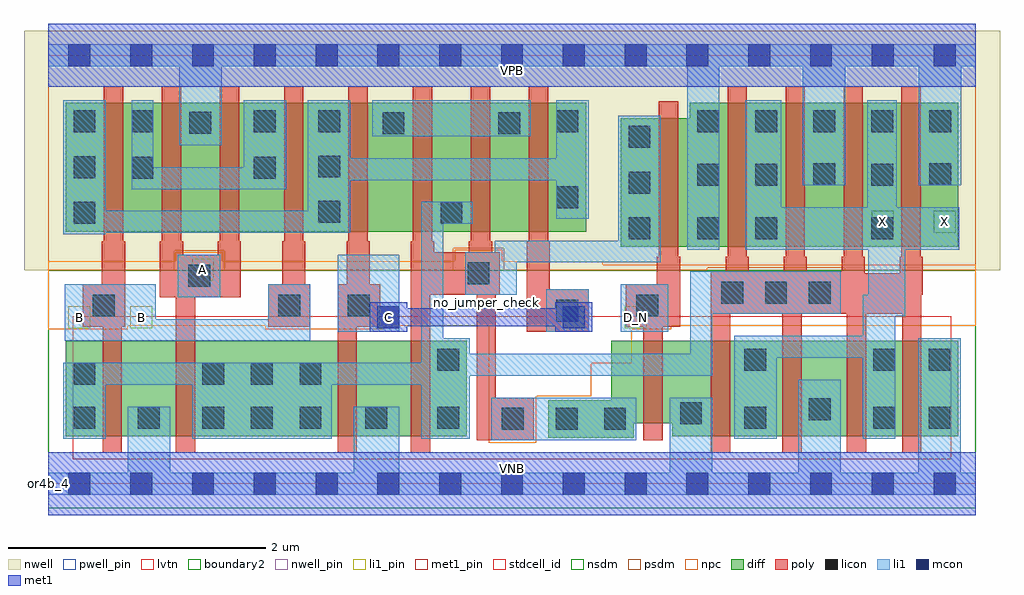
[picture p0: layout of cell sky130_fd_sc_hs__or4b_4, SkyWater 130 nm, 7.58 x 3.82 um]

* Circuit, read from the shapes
.subckt sky130_fd_sc_hs__or4b_4 A B C D_N VGND VNB VPB VPWR X
XM1 VGND B n1 VNB sky130_fd_pr__nfet_01v8_lvt w=0.74 l=0.15
XM2 n1 A VGND VNB sky130_fd_pr__nfet_01v8_lvt w=0.74 l=0.15
XM3 VGND C n1 VNB sky130_fd_pr__nfet_01v8_lvt w=0.74 l=0.15
XM4 n1 n2 VGND VNB sky130_fd_pr__nfet_01v8_lvt w=0.74 l=0.15
XM5 VGND D_N n2 VNB sky130_fd_pr__nfet_01v8_lvt w=0.64 l=0.15
XM6 X n1 VGND VNB sky130_fd_pr__nfet_01v8_lvt w=0.74 l=0.15 m=4
XM7 n3 B n4 VPB sky130_fd_pr__pfet_01v8 w=1 l=0.15 m=2
XM8 VPWR A n3 VPB sky130_fd_pr__pfet_01v8 w=1 l=0.15 m=2
XM9 n5 C n4 VPB sky130_fd_pr__pfet_01v8 w=1 l=0.15 m=2
XM10 n1 n2 n5 VPB sky130_fd_pr__pfet_01v8 w=1 l=0.15 m=2
XM11 VPWR D_N n2 VPB sky130_fd_pr__pfet_01v8 w=1 l=0.15
XM12 X n1 VPWR VPB sky130_fd_pr__pfet_01v8 w=1.12 l=0.15 m=4
.ends

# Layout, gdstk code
import gdstk
lib = gdstk.Library(unit=1e-6, precision=1e-09)
def R(c, l, rs):  # rectangles x0, y0, x1, y1
    for r in rs: c.add(gdstk.rectangle(r[:2], r[2:], *l))
def A(c, l, x, y, w, h, nx, ny, dx, dy):  # array of equal rectangles
    R(c, l, [(x+i*dx, y+j*dy, x+i*dx+w, y+j*dy+h) for i in range(nx) for j in range(ny)])
def P(c, l, *ps):  # polygons
    for p in ps: c.add(gdstk.Polygon(p, *l))
nwell_pin = (64, 16)
nwell = (64, 20)
diff = (65, 20)
poly = (66, 20)
licon = (66, 44)
li1_pin = (67, 16)
li1 = (67, 20)
mcon = (67, 44)
met1_pin = (68, 16)
met1 = (68, 20)
stdcell_id = (81, 4)
nsdm = (93, 44)
psdm = (94, 20)
npc = (95, 20)
pwell_pin = (122, 16)
lvtn = (125, 44)
boundary2 = (236, 0)

sky130_fd_sc_hs__or4b_4 = lib.new_cell('sky130_fd_sc_hs__or4b_4')
R(sky130_fd_sc_hs__or4b_4, nwell_pin, [(0,3.085,7.2,3.33)])
R(sky130_fd_sc_hs__or4b_4, nwell, [(-0.19,1.66,7.39,3.52)])
R(sky130_fd_sc_hs__or4b_4, diff, [(0.135,0.37,3.25,1.11), (0.135,1.96,4.175,2.96)])
P(sky130_fd_sc_hs__or4b_4, diff, [(7.065,2.96),(4.98,2.96),(4.98,2.84),(4.445,2.84),(4.445,1.84),(7.065,1.84)],
  [(7.065,1.11),(4.37,1.11),(4.37,0.65),(3.88,0.65),(3.88,0.36),(4.545,0.36),(4.545,0.47),(4.845,0.47),(4.845,0.37),(7.065,0.37)])
P(sky130_fd_sc_hs__or4b_4, poly, [(6.79,1.765),(6.775,1.765),(6.775,3.09),(6.625,3.09),(6.625,1.765),(6.61,1.765),(6.61,1.635),(6.34,1.635),(6.34,1.765),(6.325,1.765),(6.325,3.09),(6.175,3.09),(6.175,1.765),(6.16,1.765),(6.16,1.65),(5.89,1.65),(5.89,1.765),(5.875,1.765),(5.875,3.09),(5.725,3.09),(5.725,1.765),(5.71,1.765),(5.71,1.65),(5.44,1.65),(5.44,1.765),(5.425,1.765),(5.425,3.09),(5.275,3.09),(5.275,1.765),(5.26,1.765),(5.26,1.65),(5.145,1.65),(5.145,0.24),(5.295,0.24),(5.295,1.32),(5.7,1.32),(5.7,0.24),(5.85,0.24),(5.85,1.32),(6.2,1.32),(6.2,0.24),(6.35,0.24),(6.35,1.32),(6.63,1.32),(6.63,0.24),(6.78,0.24),(6.78,1.47),(6.79,1.47)],
  [(4.905,1.765),(4.89,1.765),(4.89,2.97),(4.74,2.97),(4.74,1.765),(4.725,1.765),(4.725,1.55),(4.485,1.55),(4.485,1.22),(4.62,1.22),(4.62,0.34),(4.77,0.34),(4.77,1.22),(4.905,1.22)],
  [(4.195,1.51),(3.895,1.51),(3.895,1.885),(3.88,1.885),(3.88,3.09),(3.73,3.09),(3.73,1.885),(3.715,1.885),(3.715,1.18),(4.195,1.18)],
  [(3.77,0.67),(3.475,0.67),(3.475,1.47),(3.505,1.47),(3.505,1.8),(3.445,1.8),(3.445,1.885),(3.43,1.885),(3.43,3.09),(3.28,3.09),(3.28,1.885),(3.265,1.885),(3.265,1.8),(2.995,1.8),(2.995,1.885),(2.98,1.885),(2.98,3.09),(2.83,3.09),(2.83,1.885),(2.815,1.885),(2.815,0.24),(2.965,0.24),(2.965,1.47),(3.325,1.47),(3.325,0.34),(3.77,0.34)],
  [(2.575,1.55),(2.495,1.55),(2.495,1.885),(2.48,1.885),(2.48,3.09),(2.33,3.09),(2.33,1.885),(2.315,1.885),(2.315,1.55),(2.245,1.55),(2.245,0.24),(2.395,0.24),(2.395,1.22),(2.575,1.22)],
  [(2.035,1.55),(1.995,1.55),(1.995,1.885),(1.98,1.885),(1.98,3.09),(1.83,3.09),(1.83,1.885),(1.815,1.885),(1.815,1.55),(1.705,1.55),(1.705,1.22),(2.035,1.22)],
  [(1.495,1.885),(1.48,1.885),(1.48,3.09),(1.33,3.09),(1.33,1.885),(1.315,1.885),(1.315,1.78),(1.045,1.78),(1.045,1.885),(1.03,1.885),(1.03,3.09),(0.88,3.09),(0.88,1.885),(0.865,1.885),(0.865,1.45),(0.99,1.45),(0.99,0.24),(1.14,0.24),(1.14,1.45),(1.495,1.45)],
  [(0.595,1.885),(0.58,1.885),(0.58,3.09),(0.43,3.09),(0.43,1.885),(0.415,1.885),(0.415,1.55),(0.265,1.55),(0.265,1.22),(0.42,1.22),(0.42,0.24),(0.57,0.24),(0.57,1.22),(0.595,1.22)])
A(sky130_fd_sc_hs__or4b_4, licon, 0.195, 0.43, 0.17, 0.17, 3, 1, 0.5, 0)
A(sky130_fd_sc_hs__or4b_4, licon, 5.225, 1.4, 0.17, 0.17, 3, 1, 0.34, 0)
A(sky130_fd_sc_hs__or4b_4, licon, 4.505, 1.9, 0.17, 0.17, 1, 3, 0, 0.355)
A(sky130_fd_sc_hs__or4b_4, licon, 0.195, 2.02, 0.17, 0.17, 1, 3, 0, 0.355)
A(sky130_fd_sc_hs__or4b_4, licon, 2.095, 2.03, 0.17, 0.17, 1, 3, 0, 0.35)
A(sky130_fd_sc_hs__or4b_4, licon, 5.04, 2.73, 0.17, 0.17, 5, 1, 0.45, 0)
R(sky130_fd_sc_hs__or4b_4, licon, [(3.52,0.42,3.69,0.59), (3.94,0.42,4.11,0.59), (4.315,0.42,4.485,0.59), (1.57,0.43,1.74,0.6), (1.95,0.43,2.12,0.6), (2.46,0.43,2.63,0.6), (3.02,0.43,3.19,0.6), (5.405,0.43,5.575,0.6), (6.405,0.43,6.575,0.6), (6.835,0.43,7.005,0.6), (4.905,0.465,5.075,0.635), (5.905,0.495,6.075,0.665), (0.195,0.77,0.365,0.94), (1.195,0.77,1.365,0.94), (1.57,0.77,1.74,0.94), (1.95,0.77,2.12,0.94), (3.02,0.88,3.19,1.05), (5.405,0.88,5.575,1.05), (6.405,0.88,6.575,1.05), (6.835,0.88,7.005,1.05), (3.945,1.26,4.115,1.43), (0.345,1.3,0.515,1.47), (1.785,1.3,1.955,1.47), (2.325,1.3,2.495,1.47), (4.565,1.3,4.735,1.47), (1.085,1.53,1.255,1.7), (3.255,1.55,3.425,1.72), (5.04,1.9,5.21,2.07), (5.49,1.9,5.66,2.07), (6.39,1.9,6.56,2.07), (3.045,2.02,3.215,2.19), (3.945,2.14,4.115,2.31), (5.04,2.315,5.21,2.485), (5.49,2.315,5.66,2.485), (6.39,2.315,6.56,2.485), (5.94,2.32,6.11,2.49), (6.84,2.32,7.01,2.49), (0.645,2.37,0.815,2.54), (1.595,2.37,1.765,2.54), (2.595,2.715,2.765,2.885), (3.495,2.715,3.665,2.885), (1.095,2.72,1.265,2.89), (0.645,2.73,0.815,2.9), (1.595,2.73,1.765,2.9), (3.945,2.73,4.115,2.9)])
R(sky130_fd_sc_hs__or4b_4, li1_pin, [(0.155,1.21,0.325,1.38), (0.635,1.21,0.805,1.38), (4.475,1.21,4.645,1.38), (1.115,1.58,1.285,1.75), (6.395,1.95,6.565,2.12), (6.875,1.95,7.045,2.12)])
R(sky130_fd_sc_hs__or4b_4, li1, [(3.44,0.34,4.565,0.67), (2.245,1.18,2.725,1.78), (3.865,1.18,4.195,1.51), (4.445,1.18,4.815,1.55), (1.005,1.45,1.335,1.78), (6.36,2.125,6.59,2.98), (2.515,2.7,3.745,2.98)])
P(sky130_fd_sc_hs__or4b_4, li1, [(6.76,2.32),(6.76,3.245),(6.19,3.245),(6.19,2.32),(5.86,2.32),(5.86,3.245),(5.21,3.245),(5.21,1.82),(4.96,1.82),(4.96,3.245),(1.345,3.245),(1.345,2.63),(1.015,2.63),(1.015,3.245),(0,3.245),(0,3.415),(7.2,3.415),(7.2,3.245),(7.09,3.245),(7.09,2.32)],
  [(6.755,0.085),(6.755,1.13),(7.085,1.13),(7.085,0.085),(7.2,0.085),(7.2,-0.085),(0,-0.085),(0,0.085),(0.615,0.085),(0.615,0.6),(0.945,0.6),(0.945,0.085),(2.37,0.085),(2.37,0.6),(2.725,0.6),(2.725,0.085),(4.825,0.085),(4.825,0.67),(5.155,0.67),(5.155,0.085),(5.825,0.085),(5.825,0.81),(6.155,0.81),(6.155,0.085)],
  [(3.27,1.01),(4.985,1.01),(4.985,1.65),(6.155,1.65),(6.155,1.32),(5.155,1.32),(5.155,0.84),(3.27,0.84),(3.27,0.35),(2.895,0.35),(2.895,0.77),(2.2,0.77),(2.2,0.35),(1.115,0.35),(1.115,0.77),(0.445,0.77),(0.445,0.35),(0.115,0.35),(0.115,0.94),(2.895,0.94),(2.895,2.19),(3.295,2.19),(3.295,2.02),(3.065,2.02),(3.065,1.13),(3.27,1.13)],
  [(0.835,1.28),(1.705,1.28),(1.705,1.55),(2.035,1.55),(2.035,1.11),(0.125,1.11),(0.125,1.55),(0.835,1.55)],
  [(5.69,2.15),(7.075,2.15),(7.075,1.82),(6.655,1.82),(6.655,1.3),(6.575,1.3),(6.575,0.35),(6.325,0.35),(6.325,0.98),(5.655,0.98),(5.655,0.35),(5.325,0.35),(5.325,1.15),(6.325,1.15),(6.325,1.47),(6.365,1.47),(6.365,1.82),(5.41,1.82),(5.41,2.98),(5.69,2.98)],
  [(4.425,1.89),(4.425,2.86),(4.755,2.86),(4.755,1.72),(3.635,1.72),(3.635,1.47),(3.235,1.47),(3.235,1.8),(3.465,1.8),(3.465,1.89)],
  [(2.015,2.12),(2.015,2.98),(2.345,2.98),(2.345,2.53),(3.945,2.53),(3.945,2.98),(4.195,2.98),(4.195,2.06),(3.945,2.06),(3.945,2.36),(2.345,2.36),(2.345,1.95),(0.445,1.95),(0.445,1.94),(0.115,1.94),(0.115,2.98),(0.445,2.98),(0.445,2.12)],
  [(1.515,2.46),(1.515,2.98),(1.845,2.98),(1.845,2.29),(0.645,2.29),(0.645,2.98),(0.815,2.98),(0.815,2.46)])
A(sky130_fd_sc_hs__or4b_4, mcon, 0.155, -0.085, 0.17, 0.17, 15, 2, 0.48, 3.33)
R(sky130_fd_sc_hs__or4b_4, mcon, [(2.555,1.21,2.725,1.38), (3.995,1.21,4.165,1.38)])
R(sky130_fd_sc_hs__or4b_4, met1_pin, [(0,0,7.2,0.245), (2.555,1.21,2.725,1.38), (0,3.085,7.2,3.33)])
R(sky130_fd_sc_hs__or4b_4, met1, [(0,-0.245,7.2,0.245), (0,3.085,7.2,3.575)])
P(sky130_fd_sc_hs__or4b_4, met1, [(3.935,1.18),(3.935,1.225),(2.785,1.225),(2.785,1.18),(2.495,1.18),(2.495,1.41),(2.785,1.41),(2.785,1.365),(3.935,1.365),(3.935,1.41),(4.225,1.41),(4.225,1.18)])
R(sky130_fd_sc_hs__or4b_4, stdcell_id, [(0,0,7.2,3.33)])
R(sky130_fd_sc_hs__or4b_4, nsdm, [(0,-0.19,7.2,1.66)])
P(sky130_fd_sc_hs__or4b_4, psdm, [(7.2,3.52),(0,3.52),(0,1.66),(0.975,1.66),(0.975,1.81),(1.365,1.81),(1.365,1.66),(3.145,1.66),(3.145,1.83),(3.535,1.83),(3.535,1.66),(5.115,1.66),(5.115,1.68),(6.185,1.68),(6.185,1.66),(7.2,1.66)])
P(sky130_fd_sc_hs__or4b_4, npc, [(7.2,1.7),(4.305,1.7),(4.305,1.73),(3.525,1.73),(3.525,1.82),(3.155,1.82),(3.155,1.73),(1.355,1.73),(1.355,1.8),(0.985,1.8),(0.985,1.73),(0,1.73),(0,1.2),(0.615,1.2),(0.615,1.23),(1.685,1.23),(1.685,1.2),(2.595,1.2),(2.595,1.23),(3.42,1.23),(3.42,0.32),(3.79,0.32),(3.79,0.68),(4.215,0.68),(4.215,0.935),(4.53,0.935),(4.53,1.2),(4.835,1.2),(4.835,1.23),(7.2,1.23)])
R(sky130_fd_sc_hs__or4b_4, pwell_pin, [(0,0,7.2,0.245)])
R(sky130_fd_sc_hs__or4b_4, lvtn, [(0.19,0.19,7.01,1.3)])
R(sky130_fd_sc_hs__or4b_4, boundary2, [(0,0,7.2,3.33)])
sky130_fd_sc_hs__or4b_4.add(gdstk.Label('or4b_4', (0,0), layer=83, texttype=44))
sky130_fd_sc_hs__or4b_4.add(gdstk.Label('no_jumper_check', (3.4,1.41), layer=83, texttype=44))
sky130_fd_sc_hs__or4b_4.add(gdstk.Label('VNB', (3.6,0.123), layer=64, texttype=59))
sky130_fd_sc_hs__or4b_4.add(gdstk.Label('VPB', (3.6,3.208), layer=64, texttype=5))
sky130_fd_sc_hs__or4b_4.add(gdstk.Label('C', (2.64,1.295), layer=68, texttype=5))
sky130_fd_sc_hs__or4b_4.add(gdstk.Label('VPWR', (3.6,3.208), layer=68, texttype=5))
sky130_fd_sc_hs__or4b_4.add(gdstk.Label('VGND', (3.6,0.123), layer=68, texttype=5))
sky130_fd_sc_hs__or4b_4.add(gdstk.Label('B', (0.24,1.295), layer=67, texttype=5))
sky130_fd_sc_hs__or4b_4.add(gdstk.Label('B', (0.72,1.295), layer=67, texttype=5))
sky130_fd_sc_hs__or4b_4.add(gdstk.Label('A', (1.2,1.665), layer=67, texttype=5))
sky130_fd_sc_hs__or4b_4.add(gdstk.Label('X', (6.48,2.035), layer=67, texttype=5))
sky130_fd_sc_hs__or4b_4.add(gdstk.Label('X', (6.96,2.035), layer=67, texttype=5))
sky130_fd_sc_hs__or4b_4.add(gdstk.Label('D_N', (4.56,1.295), layer=67, texttype=5))

lib.write_gds('sky130_fd_sc_hs__or4b_4.gds')
